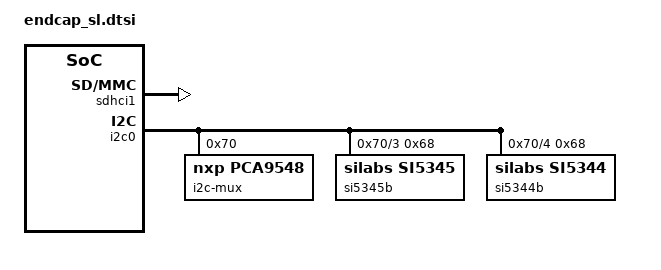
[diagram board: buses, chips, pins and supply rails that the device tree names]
/* SD1 with level shifter */
&sdhci1 {
	status = "okay";
	no-1-8-v;	/* for 1.0 silicon */
	disable-wp;
	xlnx,mio_bank = <1>;
};

&i2c0 {
    i2c-mux@70 { /* U23 */
        compatible = "nxp,pca9548";
		#address-cells = <1>;
		#size-cells = <0>;
		reg = <0x70>;
        // i2c@0 { // FireFly connectors
        //     #address-cells = <1>;
        //     #size-cells = <0>;
        //     reg = <0>;
        // };
        // i2c@1 {
        //     #address-cells = <1>;
        //     #size-cells = <0>;
        //     reg = <1>;
        // };
        // i2c@2 { /* U24 */
        //     #address-cells = <1>;
        //     #size-cells = <0>;
        //     reg = <2>;
        // };
        i2c@3 {
            #address-cells = <1>;
            #size-cells = <0>;
            reg = <3>;
            si5345b: clock-generator@68 { /* U1 */
                // https://mjmwired.net/kernel/Documentation/devicetree/bindings/clock/silabs,si5341.txt
                compatible = "silabs,si5345";
                reg = <0x68>;
                #clock-cells = <2>;
                clocks = <40000000>; // 40 MHz
                clock-names = "in0";
                out@0 { reg = <0>; };
                out@1 { reg = <1>; };
                out@2 { reg = <2>; };
                out@3 { reg = <3>; };
                out@4 { reg = <4>; };
                out@5 { reg = <5>; };
                out@6 { reg = <6>; };
                out@7 { reg = <7>; };
                out@8 { reg = <8>; };
            };
        };
        i2c@4 {
            #address-cells = <1>;
            #size-cells = <0>;
            reg = <4>;
            si5344b: clock-generator@68 { /* U2 */
                compatible = "silabs,si5344";
                reg = <0x68>;
                #clock-cells = <2>;
                clocks = <40000000>; // need to change here
                clock-names = "in0";
                out@0 { reg = <0>; };
                out@1 { reg = <1>; };
                out@2 { reg = <2>; };
                out@3 { reg = <3>; };
            };
        };
        // i2c@5 {
        //     #address-cells = <1>;
        //     #size-cells = <0>;
        //     reg = <5>;
        // };
        // i2c@6 {
        //     #address-cells = <1>;
        //     #size-cells = <0>;
        //     reg = <6>;
        // };
        /* port 7 unconnected */
    };
};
